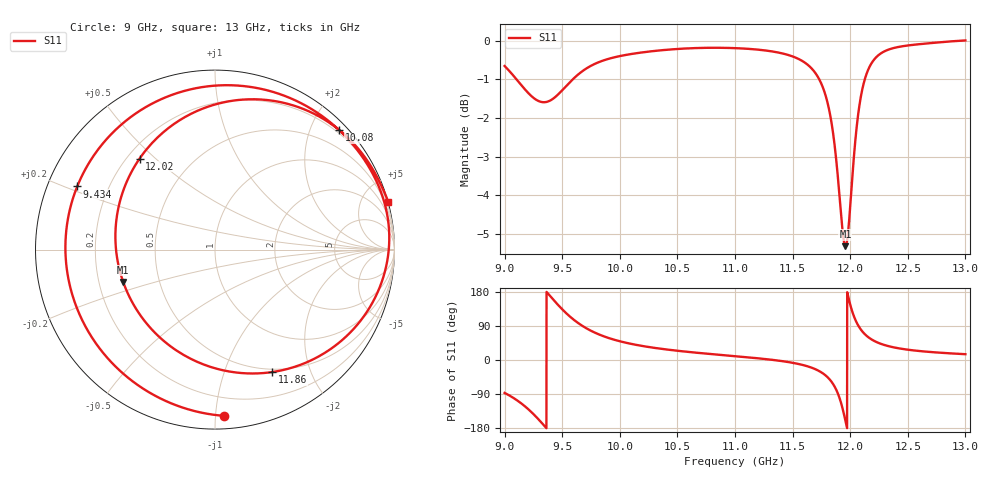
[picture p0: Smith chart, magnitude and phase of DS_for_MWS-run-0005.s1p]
! TOUCHSTONE file generated by CST DESIGN STUDIO
! Date and time: Wed Feb  5 13:40:31 2025
! Project name: C:\Work\MatlabApps\UnitCellOptimizationMatlab\CST\unitcell.cst
! Tree item: Tasks\Sweep1\SPara1\S-Parameters
! Header version: 2024
! Port assignment regex: !\s*Touchstone port\s*([0-9]+)\s*=\s*(CST MWS port|CST DES external port|CST DES block port)\s*(.+)\s* \(\"(.*)\"\)(\s*mode\s*([0-9]+))?.*
! Touchstone port assignment:
! Touchstone port 1 = CST DES external port 1 ("")
# GHz S MA R 50
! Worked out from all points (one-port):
!   4001 points, 9 GHz to 13 GHz, reference 50 ohm
!   lowest |S11| = -5.3 dB at 11.96 GHz (marker M1), VSWR 3.37, Z = 15.2 - j7.76 ohm
!   |S11| at or under -10 dB: nowhere
!   S11 on the Smith chart (normalised r, x): 9 GHz: 0.08, -1.05; 9.434 GHz: 0.09, +0.22; 10.08 GHz: 0.15, +2.48; 11.86 GHz: 0.47, -1.46; 12.02 GHz: 0.25, +0.45; 13 GHz: -0.03, +7.43
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9  0.9276 -86.8
9.114  0.8875 -107.7
9.211  0.8542 -131.3
9.332  0.8328 -169.2
9.434  0.8444 155.4
9.5  0.8629 133.8
9.584  0.8892 110.3
9.678  0.9141 89.5
9.827  0.9395 66.5
10  0.9554 49.5
10.078  0.9602 43.9
10.5  0.9759 24.4
11  0.9783 10.1
11.5  0.9544 -7.4
11.731  0.8916 -29.3
11.8  0.8353 -44.4
11.855  0.7526 -65.1
11.91  0.6228 -102.7
11.959  0.5424 -160.6
12  0.6102 146.3
12.016  0.6585 129.6
12.047  0.7499 104.6
12.081  0.8267 85.4
12.133  0.8979 66.4
12.191  0.9382 53.3
12.311  0.9712 38.3
12.5  0.9861 27.2
13  1.001 15.3
